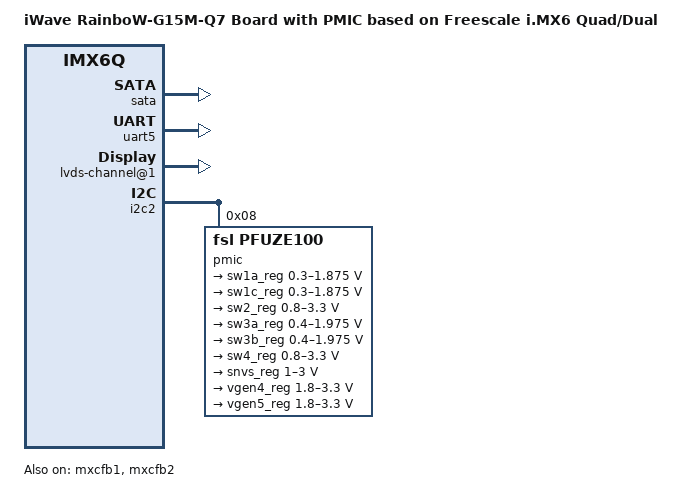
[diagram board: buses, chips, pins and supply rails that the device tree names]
/*
 * Copyright (c) 2014-2015 iWave Systems Technologies Pvt. Ltd. 
 *
 * The code contained herein is licensed under the GNU General Public
 * License. You may obtain a copy of the GNU General Public License
 * Version 2 or later at the following locations:
 *
 * http://www.opensource.org/licenses/gpl-license.html
 * http://www.gnu.org/copyleft/gpl.html
 */

/dts-v1/;

#include "imx6q_iwg15.dtsi"
#include "imx6qdl-iwg15m-q7.dtsi"

/ {
	model = "iWave RainboW-G15M-Q7 Board with PMIC based on Freescale i.MX6 Quad/Dual";
	compatible = "iw,qd_iwg15m_q7_pmic", "fsl,imx6q";
};

/*&mxcfb3 {
	status = "okay";
};

&mxcfb4 {
	status = "okay";
};*/

&mxcfb1 {
        status = "okay";
};

&mxcfb2 {
        status = "okay";
};

&sata {
	sata-act-gpios = <&gpio4 10 1>;
	status = "okay";
};

&v4l2_cap_1 {
        ipu_id = <1>;
};

&iomuxc {
        pinctrl-names = "default";
        pinctrl-0 = <&pinctrl_hog_q7_1>;
};

&uart5 {
	pinctrl-names = "default";
	pinctrl-0 = <&pinctrl_uart5_1>;
	fsl,uart-has-rtscts;
	status = "okay";
};

&ldb {
	lvds-channel@1 {
		fsl,data-mapping = "spwg";
		fsl,data-width = <24>;/*18*/
		crtc = "ipu2-di1";
		status = "okay";

		display-timings {
			native-mode = <&timing1>;
			timing1: ldb-wvga {
				 clock-frequency = <178900000>;/*89400000*//*148500000*/
                                hactive = <1920>;
                                vactive = <720>;
                                hback-porch = <656>;/*96*/
                                hfront-porch = <120>;/*30*/
                                vback-porch = <35>;/*3*/
                                vfront-porch = <1>;/*3*/
                                hsync-len = <2>;
                                vsync-len = <2>;
			};
		};
	};
};

&unused_gpios {
	gpios = <&gpio1 2 0  &gpio1 3 0   &gpio1 4 0   &gpio1 5 0
		&gpio1 6 0   &gpio2 23 0  &gpio2 26 0  &gpio2 28 0
		&gpio2 29 0  &gpio3 0 0   &gpio3 1 0   &gpio3 2 0
		&gpio3 3 0   &gpio3 4 0   &gpio3 5 0   &gpio3 6 0
		&gpio3 7 0   &gpio3 8 0   &gpio3 9 0   &gpio3 10 0  
		&gpio3 11 0  &gpio3 12 0  &gpio3 13 0  &gpio3 14 0  
		&gpio3 15 0  &gpio3 22 0  &gpio4 5 0   &gpio4 6 0
		&gpio4 7 0   &gpio4 16 0  &gpio4 17 0  &gpio4 18 0
		&gpio4 19 0  &gpio4 20 0  &gpio4 22 0  &gpio4 24 0  
		&gpio4 25 0  &gpio4 26 0  &gpio4 27 0  &gpio4 28 0  
		&gpio4 30 0  &gpio4 31 0  &gpio6 31 0  &gpio5 8 0   
		&gpio5 10 0  &gpio5 11 0  &gpio5 12 0  &gpio5 13 0  
		&gpio5 14 0  &gpio5 15 0  &gpio5 16 0  &gpio5 17 0  
		&gpio5 18 0  &gpio5 19 0  &gpio5 20 0  &gpio5 21 0  
		&gpio5 22 0  &gpio5 23 0  &gpio5 24 0  &gpio5 25 0  
		&gpio5 30 0  &gpio5 31 0  &gpio6 0 0   &gpio6 1 0   
		&gpio6 2 0   &gpio6 3 0   &gpio6 4 0   &gpio6 5 0   
		&gpio6 15 0 >;
};

&gpc {
        fsl,ldo-bypass = <0>; /* use ldo-bypass, u-boot will check it and configure */
};

&i2c2 {
	pmic: pfuze100@08 {
		compatible = "fsl,pfuze100";
		reg = <0x08>;

		regulators {
			sw1a_reg: sw1ab {
				regulator-min-microvolt = <300000>;
				regulator-max-microvolt = <1875000>;
				regulator-boot-on;
				regulator-always-on;
				regulator-ramp-delay = <6250>;
			};

			sw1c_reg: sw1c {
				regulator-min-microvolt = <300000>;
				regulator-max-microvolt = <1875000>;
				regulator-boot-on;
				regulator-always-on;
				regulator-ramp-delay = <6250>;
			};

			sw2_reg: sw2 {
				regulator-min-microvolt = <800000>;
				regulator-max-microvolt = <3300000>;
				regulator-boot-on;
				regulator-always-on;
			};

			sw3a_reg: sw3a {
				regulator-min-microvolt = <400000>;
				regulator-max-microvolt = <1975000>;
				regulator-boot-on;
				regulator-always-on;
			};

			sw3b_reg: sw3b {
				regulator-min-microvolt = <400000>;
				regulator-max-microvolt = <1975000>;
				regulator-boot-on;
				regulator-always-on;
			};

			sw4_reg: sw4 {
				regulator-min-microvolt = <800000>;
				regulator-max-microvolt = <3300000>;
			};

			snvs_reg: vsnvs {
				regulator-min-microvolt = <1000000>;
				regulator-max-microvolt = <3000000>;
				regulator-boot-on;
				regulator-always-on;
			};

			vref_reg: vrefddr {
				regulator-boot-on;
				regulator-always-on;
			};

			vgen4_reg: vgen4 {
				regulator-min-microvolt = <1800000>;
				regulator-max-microvolt = <3300000>;
				regulator-always-on;
			};

			vgen5_reg: vgen5 {
				regulator-min-microvolt = <1800000>;
				regulator-max-microvolt = <3300000>;
				regulator-always-on;
			};

		};
	};
};
